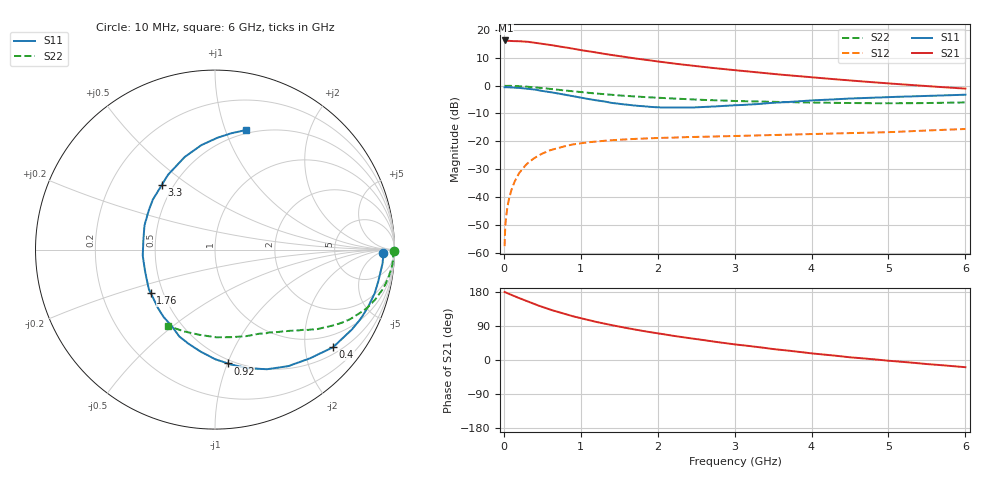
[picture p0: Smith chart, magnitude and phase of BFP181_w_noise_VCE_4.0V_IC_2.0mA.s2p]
! Infineon Technologies  Discrete & RF Semiconductors
! BFP181
! VCE = 4.0 V,  IC =  2.0 mA
! Common Emitter S-Parameters:  Jan 2016
# GHz  S  MA  R  50
!  f  S11  S21  S12  S22
! GHz  MAG  ANG  MAG  ANG  MAG  ANG  MAG  ANG
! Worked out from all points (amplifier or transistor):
!   210 points, 10 MHz to 6 GHz, reference 50 ohm
!   highest |S21| = 16.3 dB at 20 MHz (marker M1)
!   |S21| within 3 dB of that: start of sweep to 906.1 MHz
!   unconditionally stable (mu >= 1): 2.486 GHz to end of sweep
!   at 185 MHz: K = 0.10, MSG = 24.0 dB, |S12| = -32.1 dB
!   at 1.52 GHz: K = 0.68, MSG = 15.0 dB, |S12| = -19.4 dB
!   at 6 GHz: K = 1.14, MAG = 5.0 dB, |S12| = -15.6 dB
!   lowest NFmin = 1.35 dB at 450 MHz
!   S11 on the Smith chart (normalised r, x): 10 MHz: 27, -8; 400 MHz: 0.66, -2.63; 920 MHz: 0.47, -1.00; 1.76 GHz: 0.43, -0.25; 3.3 GHz: 0.43, +0.40; 6 GHz: 0.47, +1.18
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0.01  0.9346 -1.1  6.434 179.3  0.0013 87.0  0.9969 -0.4
0.02  0.9381 -2.0  6.498 178.8  0.0031 86.6  0.9892 -0.8
0.06  0.9343 -5.9  6.401 175.0  0.0083 87.3  0.9933 -2.8
0.14  0.9229 -14.3  6.329 168.3  0.0188 80.7  0.9866 -6.4
0.24  0.9012 -24.3  6.232 159.9  0.0315 75.3  0.9714 -10.9
0.3  0.8828 -30.3  6.176 155.6  0.0392 71.8  0.9586 -13.5
0.4  0.8538 -39.6  5.923 147.3  0.0502 66.6  0.9344 -17.4
0.5  0.8041 -48.9  5.646 139.8  0.0601 61.0  0.9068 -21.1
0.6  0.7671 -57.8  5.44 133.1  0.0688 56.2  0.8752 -24.3
0.8  0.6869 -74.4  4.898 120.8  0.0821 48.3  0.8176 -29.8
0.92  0.638 -83.7  4.562 114.3  0.0887 44.4  0.7856 -32.4
1.02  0.603 -91.3  4.316 109.1  0.0927 41.4  0.7603 -34.5
1.2  0.5463 -105.3  3.945 100.6  0.0993 36.6  0.7226 -37.8
1.4  0.4901 -119.3  3.565 92.1  0.1044 32.7  0.6837 -40.9
1.76  0.4321 -146.1  3.017 78.4  0.1111 27.6  0.6323 -45.6
2.02  0.4068 -164.0  2.702 69.7  0.115 24.9  0.6046 -48.7
2.4  0.403 171.7  2.336 58.0  0.1192 21.5  0.572 -53.8
3.1  0.4496 137.2  1.84 39.0  0.1253 18.0  0.5259 -63.6
3.3  0.4669 129.3  1.726 34.3  0.1277 17.2  0.5187 -66.7
4.1  0.5503 105.8  1.38 15.6  0.1362 14.4  0.4939 -81.1
5.1  0.629 87.3  1.073 -3.5  0.1478 12.2  0.4821 -101.9
6  0.688 75.5  0.885 -19.0  0.1662 9.6  0.4994 -121.4
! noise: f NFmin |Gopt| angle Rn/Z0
0.45  1.35  0.6  17  0.4
0.9  1.45  0.5  36  0.4
1.8  1.8  0.31  80  0.37
